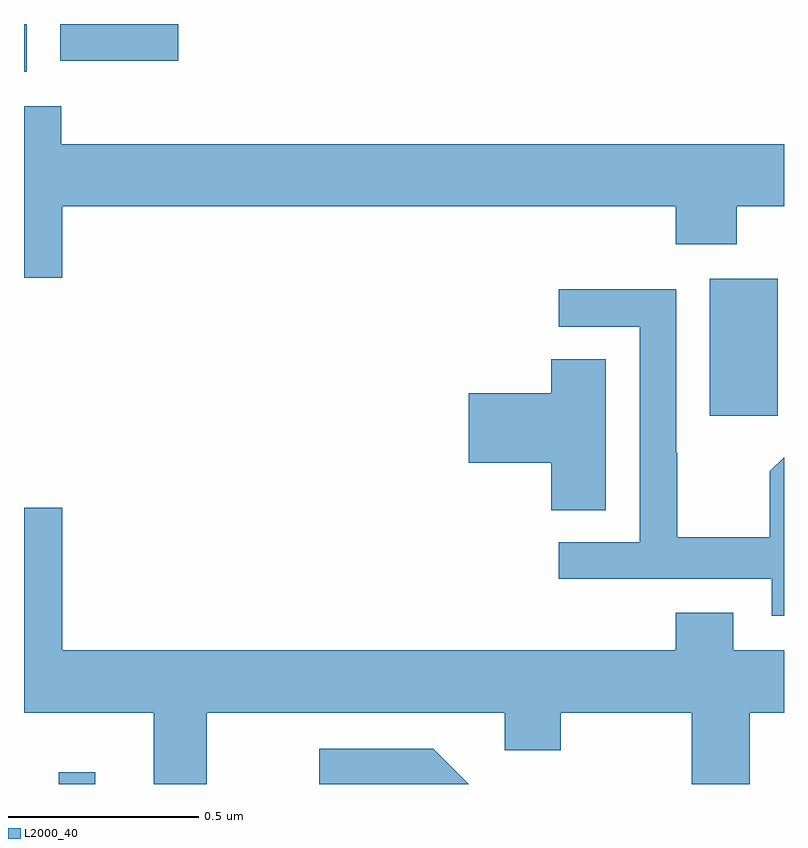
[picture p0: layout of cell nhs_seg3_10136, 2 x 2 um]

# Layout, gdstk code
import gdstk
lib = gdstk.Library(unit=1e-6, precision=1e-09)
def R(c, l, rs):  # rectangles x0, y0, x1, y1
    for r in rs: c.add(gdstk.rectangle(r[:2], r[2:], *l))
def P(c, l, *ps):  # polygons
    for p in ps: c.add(gdstk.Polygon(p, *l))
L2000_40 = (2000, 40)

nhs_seg3_10136 = lib.new_cell('nhs_seg3_10136')
R(nhs_seg3_10136, L2000_40, [(237.091,695.4,237.187,695.431), (238.805,696.369,238.984,696.73), (237,697.274,237.007,697.4), (237.096,697.303,237.406,697.4)])
P(nhs_seg3_10136, L2000_40, [(237.1,696.92),(238.715,696.92),(238.715,696.821),(238.875,696.821),(238.875,696.92),(239,696.92),(239,697.084),(237.098,697.084),(237.098,697.183),(237,697.183),(237,696.732),(237.1,696.732)],
  [(239,696.26),(238.963,696.223),(238.963,696.049),(238.719,696.049),(238.719,696.272),(238.716,696.272),(238.716,696.702),(238.407,696.702),(238.407,696.603),(238.62,696.603),(238.62,696.036),(238.407,696.036),(238.407,695.94),(238.968,695.94),(238.968,695.843),(239,695.843)],
  [(238.531,696.518),(238.388,696.518),(238.388,696.428),(238.17,696.428),(238.17,696.245),(238.388,696.245),(238.388,696.121),(238.531,696.121)],
  [(237.481,695.588),(238.265,695.588),(238.265,695.489),(238.413,695.489),(238.413,695.588),(238.757,695.588),(238.757,695.4),(238.91,695.4),(238.91,695.588),(239,695.588),(239,695.752),(238.867,695.752),(238.867,695.851),(238.715,695.851),(238.715,695.752),(237.1,695.752),(237.1,696.127),(237,696.127),(237,695.588),(237.341,695.588),(237.341,695.4),(237.481,695.4)],
  [(238.077,695.493),(237.777,695.493),(237.777,695.4),(238.17,695.4)])

lib.write_gds('nhs_seg3_10136.gds')
